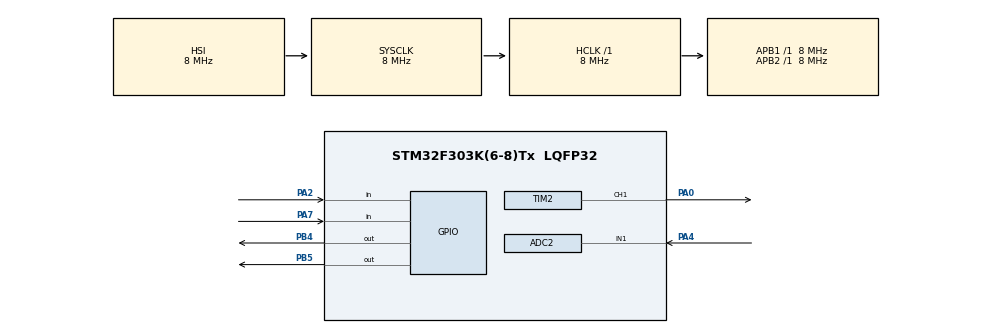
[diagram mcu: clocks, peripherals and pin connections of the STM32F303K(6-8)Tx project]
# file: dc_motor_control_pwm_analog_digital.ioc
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ADC2.Channel-0\#ChannelRegularConversion=ADC_CHANNEL_1
ADC2.ContinuousConvMode=ENABLE
ADC2.NbrOfConversion=1
ADC2.NbrOfConversionFlag=1
ADC2.Offset-0\#ChannelRegularConversion=0
ADC2.OffsetNumber-0\#ChannelRegularConversion=ADC_OFFSET_NONE
ADC2.Rank-0\#ChannelRegularConversion=1
ADC2.SamplingTime-0\#ChannelRegularConversion=ADC_SAMPLETIME_1CYCLE_5
ADC2.SamplingTimeOPAMP-0\#ChannelRegularConversion=ADC_SAMPLETIME_4CYCLES_5
ADC2.SubFamily=STM32F303x8
Mcu.Family=STM32F3
Mcu.Name=STM32F303K(6-8)Tx
Mcu.Package=LQFP32
NVIC.PriorityGroup=NVIC_PRIORITYGROUP_4
PA0.Signal=S_TIM2_CH1_ETR
PA2.Signal=GPIO_Input
PA4.Mode=IN1-Single-Ended
PA4.Signal=ADC2_IN1
PA7.Signal=GPIO_Input
PB4.Signal=GPIO_Output
PB5.Signal=GPIO_Output
ProjectManager.HeapSize=0x200
ProjectManager.StackSize=0x400
ProjectManager.TargetToolchain=STM32CubeIDE
RCC.AHBFreq_Value=8000000
RCC.APB1Freq_Value=8000000
RCC.APB2Freq_Value=8000000
RCC.CortexFreq_Value=8000000
RCC.HSE_VALUE=8000000
RCC.HSI_VALUE=8000000
RCC.PLLMUL=RCC_PLL_MUL4
RCC.SYSCLKFreq_VALUE=8000000
SH.S_TIM2_CH1_ETR.0=TIM2_CH1,PWM Generation1 CH1
TIM2.Channel-PWM\ Generation1\ CH1=TIM_CHANNEL_1
TIM2.Period=1000
TIM2.Pulse-PWM\ Generation1\ CH1=500
VP_TIM2_VS_ClockSourceINT.Mode=Internal
board=custom

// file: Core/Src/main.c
/* USER CODE BEGIN Header */
/**
  ******************************************************************************
  * @file           : main.c
  * @brief          : Main program body
  ******************************************************************************
  * @attention
  *
  * <h2><center>&copy; Copyright (c) 2021 STMicroelectronics.
  * All rights reserved.</center></h2>
  *
  * This software component is licensed by ST under BSD 3-Clause license,
  * the "License"; You may not use this file except in compliance with the
  * License. You may obtain a copy of the License at:
  *                        opensource.org/licenses/BSD-3-Clause
  *
  ******************************************************************************
  */
/* USER CODE END Header */
#include "main.h"

/* USER CODE BEGIN Includes */
uint16_t analogValue;
uint16_t pulseWidth;
int prevState;
int prevStateDirection;
/* USER CODE END Includes */

ADC_HandleTypeDef hadc2;

TIM_HandleTypeDef htim2;

void SystemClock_Config(void);
static void MX_GPIO_Init(void);
static void MX_ADC2_Init(void);
static void MX_TIM2_Init(void);
/* USER CODE BEGIN PFP */
uint16_t map(uint16_t, uint16_t, uint16_t, uint16_t, uint16_t);
/* USER CODE END PFP */

int main(void)
{

  /* MCU Configuration--------------------------------------------------------*/

  /* Reset of all peripherals, Initializes the Flash interface and the Systick. */
  HAL_Init();

  /* Configure the system clock */
  SystemClock_Config();

  /* Initialize all configured peripherals */
  MX_GPIO_Init();
  MX_ADC2_Init();
  MX_TIM2_Init();
  /* USER CODE BEGIN 2 */
  HAL_TIM_PWM_Start(&htim2, TIM_CHANNEL_1);

  HAL_GPIO_WritePin(GPIOB, GPIO_PIN_4, GPIO_PIN_SET);
  HAL_GPIO_WritePin(GPIOB, GPIO_PIN_5, GPIO_PIN_RESET);

  prevState = HAL_GPIO_ReadPin (GPIOA, GPIO_PIN_7);
  prevStateDirection = HAL_GPIO_ReadPin (GPIOA, GPIO_PIN_2);
  /* USER CODE END 2 */

  /* Infinite loop */
  /* USER CODE BEGIN WHILE */
  while (1)
  {
	  if (HAL_GPIO_ReadPin (GPIOA, GPIO_PIN_2) != prevStateDirection)
	  {
		  HAL_GPIO_TogglePin(GPIOB, GPIO_PIN_4);
		  HAL_GPIO_TogglePin(GPIOB, GPIO_PIN_5);
		  prevStateDirection = HAL_GPIO_ReadPin (GPIOA, GPIO_PIN_2);
	  }

	  if(HAL_GPIO_ReadPin (GPIOA, GPIO_PIN_7) == GPIO_PIN_SET)
	  {
		  pulseWidth = 0;
		  prevState = HAL_GPIO_ReadPin (GPIOA, GPIO_PIN_7);
	  }
	  else
	  {
		  HAL_ADC_Start(&hadc2);
		  if(HAL_ADC_PollForConversion(&hadc2, 5) == HAL_OK)
		  {
			  analogValue = HAL_ADC_GetValue(&hadc2);
		  }

		  pulseWidth = map(analogValue, 0, 4095, 0, 500);
	  }

	  __HAL_TIM_SET_COMPARE(&htim2, TIM_CHANNEL_1, pulseWidth);
	  HAL_Delay(100);

    /* USER CODE END WHILE */

  }
}

void SystemClock_Config(void)
{
  RCC_OscInitTypeDef RCC_OscInitStruct = {0};
  RCC_ClkInitTypeDef RCC_ClkInitStruct = {0};
  RCC_PeriphCLKInitTypeDef PeriphClkInit = {0};

  /** Initializes the RCC Oscillators according to the specified parameters
  * in the RCC_OscInitTypeDef structure.
  */
  RCC_OscInitStruct.OscillatorType = RCC_OSCILLATORTYPE_HSI;
  RCC_OscInitStruct.HSIState = RCC_HSI_ON;
  RCC_OscInitStruct.HSICalibrationValue = RCC_HSICALIBRATION_DEFAULT;
  RCC_OscInitStruct.PLL.PLLState = RCC_PLL_ON;
  RCC_OscInitStruct.PLL.PLLSource = RCC_PLLSOURCE_HSI;
  RCC_OscInitStruct.PLL.PLLMUL = RCC_PLL_MUL4;
  if (HAL_RCC_OscConfig(&RCC_OscInitStruct) != HAL_OK)
  {
    Error_Handler();
  }
  /** Initializes the CPU, AHB and APB buses clocks
  */
  RCC_ClkInitStruct.ClockType = RCC_CLOCKTYPE_HCLK|RCC_CLOCKTYPE_SYSCLK
                              |RCC_CLOCKTYPE_PCLK1|RCC_CLOCKTYPE_PCLK2;
  RCC_ClkInitStruct.SYSCLKSource = RCC_SYSCLKSOURCE_HSI;
  RCC_ClkInitStruct.AHBCLKDivider = RCC_SYSCLK_DIV1;
  RCC_ClkInitStruct.APB1CLKDivider = RCC_HCLK_DIV1;
  RCC_ClkInitStruct.APB2CLKDivider = RCC_HCLK_DIV1;

  if (HAL_RCC_ClockConfig(&RCC_ClkInitStruct, FLASH_LATENCY_0) != HAL_OK)
  {
    Error_Handler();
  }
  PeriphClkInit.PeriphClockSelection = RCC_PERIPHCLK_ADC12;
  PeriphClkInit.Adc12ClockSelection = RCC_ADC12PLLCLK_DIV1;
  if (HAL_RCCEx_PeriphCLKConfig(&PeriphClkInit) != HAL_OK)
  {
    Error_Handler();
  }
}

static void MX_ADC2_Init(void)
{

  ADC_ChannelConfTypeDef sConfig = {0};

  /** Common config
  */
  hadc2.Instance = ADC2;
  hadc2.Init.ClockPrescaler = ADC_CLOCK_ASYNC_DIV1;
  hadc2.Init.Resolution = ADC_RESOLUTION_12B;
  hadc2.Init.ScanConvMode = ADC_SCAN_DISABLE;
  hadc2.Init.ContinuousConvMode = ENABLE;
  hadc2.Init.DiscontinuousConvMode = DISABLE;
  hadc2.Init.ExternalTrigConvEdge = ADC_EXTERNALTRIGCONVEDGE_NONE;
  hadc2.Init.ExternalTrigConv = ADC_SOFTWARE_START;
  hadc2.Init.DataAlign = ADC_DATAALIGN_RIGHT;
  hadc2.Init.NbrOfConversion = 1;
  hadc2.Init.DMAContinuousRequests = DISABLE;
  hadc2.Init.EOCSelection = ADC_EOC_SINGLE_CONV;
  hadc2.Init.LowPowerAutoWait = DISABLE;
  hadc2.Init.Overrun = ADC_OVR_DATA_OVERWRITTEN;
  if (HAL_ADC_Init(&hadc2) != HAL_OK)
  {
    Error_Handler();
  }
  /** Configure Regular Channel
  */
  sConfig.Channel = ADC_CHANNEL_1;
  sConfig.Rank = ADC_REGULAR_RANK_1;
  sConfig.SingleDiff = ADC_SINGLE_ENDED;
  sConfig.SamplingTime = ADC_SAMPLETIME_1CYCLE_5;
  sConfig.OffsetNumber = ADC_OFFSET_NONE;
  sConfig.Offset = 0;
  if (HAL_ADC_ConfigChannel(&hadc2, &sConfig) != HAL_OK)
  {
    Error_Handler();
  }

}

static void MX_TIM2_Init(void)
{

  TIM_ClockConfigTypeDef sClockSourceConfig = {0};
  TIM_MasterConfigTypeDef sMasterConfig = {0};
  TIM_OC_InitTypeDef sConfigOC = {0};

  htim2.Instance = TIM2;
  htim2.Init.Prescaler = 6399;
  htim2.Init.CounterMode = TIM_COUNTERMODE_UP;
  htim2.Init.Period = 99;
  htim2.Init.ClockDivision = TIM_CLOCKDIVISION_DIV1;
  htim2.Init.AutoReloadPreload = TIM_AUTORELOAD_PRELOAD_DISABLE;
  if (HAL_TIM_Base_Init(&htim2) != HAL_OK)
  {
    Error_Handler();
  }
  sClockSourceConfig.ClockSource = TIM_CLOCKSOURCE_INTERNAL;
  if (HAL_TIM_ConfigClockSource(&htim2, &sClockSourceConfig) != HAL_OK)
  {
    Error_Handler();
  }
  if (HAL_TIM_PWM_Init(&htim2) != HAL_OK)
  {
    Error_Handler();
  }
  sMasterConfig.MasterOutputTrigger = TIM_TRGO_RESET;
  sMasterConfig.MasterSlaveMode = TIM_MASTERSLAVEMODE_DISABLE;
  if (HAL_TIMEx_MasterConfigSynchronization(&htim2, &sMasterConfig) != HAL_OK)
  {
    Error_Handler();
  }
  sConfigOC.OCMode = TIM_OCMODE_PWM1;
  sConfigOC.Pulse = 50;
  sConfigOC.OCPolarity = TIM_OCPOLARITY_HIGH;
  sConfigOC.OCFastMode = TIM_OCFAST_DISABLE;
  if (HAL_TIM_PWM_ConfigChannel(&htim2, &sConfigOC, TIM_CHANNEL_1) != HAL_OK)
  {
    Error_Handler();
  }
  HAL_TIM_MspPostInit(&htim2);

}

static void MX_GPIO_Init(void)
{
  GPIO_InitTypeDef GPIO_InitStruct = {0};

  /* GPIO Ports Clock Enable */
  __HAL_RCC_GPIOA_CLK_ENABLE();
  __HAL_RCC_GPIOB_CLK_ENABLE();

  /*Configure GPIO pin Output Level */
  HAL_GPIO_WritePin(GPIOB, GPIO_PIN_4|GPIO_PIN_5, GPIO_PIN_RESET);

  /*Configure GPIO pins : PA2 PA7 */
  GPIO_InitStruct.Pin = GPIO_PIN_2|GPIO_PIN_7;
  GPIO_InitStruct.Mode = GPIO_MODE_INPUT;
  GPIO_InitStruct.Pull = GPIO_NOPULL;
  HAL_GPIO_Init(GPIOA, &GPIO_InitStruct);

  /*Configure GPIO pins : PB4 PB5 */
  GPIO_InitStruct.Pin = GPIO_PIN_4|GPIO_PIN_5;
  GPIO_InitStruct.Mode = GPIO_MODE_OUTPUT_PP;
  GPIO_InitStruct.Pull = GPIO_NOPULL;
  GPIO_InitStruct.Speed = GPIO_SPEED_FREQ_LOW;
  HAL_GPIO_Init(GPIOB, &GPIO_InitStruct);

}

/* USER CODE BEGIN 4 */

uint16_t map(uint16_t x, uint16_t in_min, uint16_t in_max, uint16_t out_min, uint16_t out_max)
{
	return (x - in_min) * (out_max - out_min) / (in_max - in_min) + out_min;
}

/* USER CODE END 4 */

void Error_Handler(void)
{
  __disable_irq();
  while (1)
  {
  }
}

/************************ (C) COPYRIGHT STMicroelectronics *****END OF FILE****/
